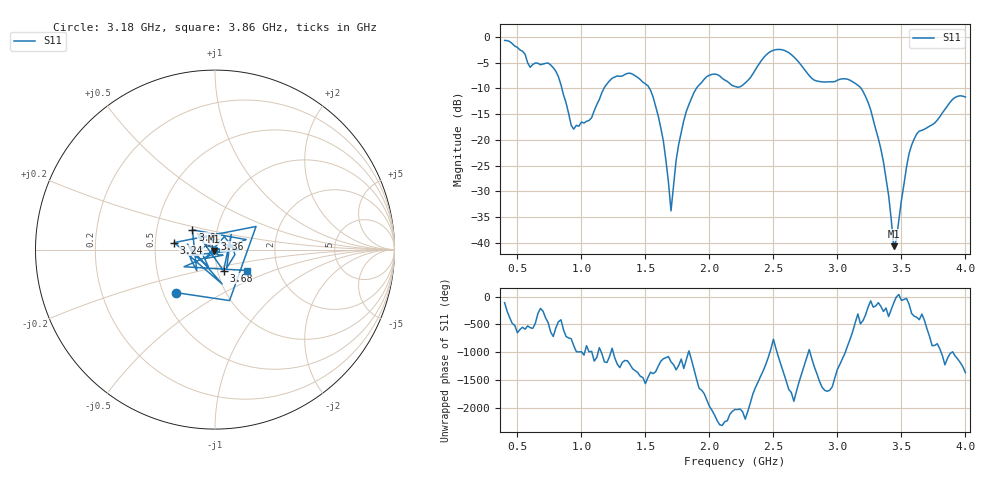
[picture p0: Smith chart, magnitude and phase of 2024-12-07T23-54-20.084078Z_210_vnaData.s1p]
!Created with skrf (http://scikit-rf.org).
# Hz S RI R 50.0
!freq ReS11 ImS11
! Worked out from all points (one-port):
!   181 points, 400 MHz to 4 GHz, reference 50 ohm
!   lowest |S11| = -40.6 dB at 3.44 GHz (marker M1), VSWR 1.02, Z = 49.6 - j0.819 ohm
!   |S11| at or under -10 dB: 847.2 MHz to 1.177 GHz (329.3 MHz wide, 32.5 % of centre); 1.531 GHz to 1.899 GHz (367.3 MHz wide, 21.4 % of centre); 3.185 GHz to end of sweep
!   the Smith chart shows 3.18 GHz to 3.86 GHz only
!   S11 on the Smith chart (normalised r, x): 3.18 GHz: 0.58, -0.31; 3.24 GHz: 0.63, +0.05; 3.36 GHz: 0.99, +0.12; 3.68 GHz: 1.07, -0.26; 3.8 GHz: 0.76, +0.17; 3.86 GHz: 1.39, -0.34
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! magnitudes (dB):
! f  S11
! 400 MHz  -0.7
! 600 MHz  -5.9
! 760 MHz  -5.5
! 860 MHz  -11.3
! 940 MHz  -17.9
! 1.3 GHz  -7.7
! 1.4 GHz  -7.3
! 1.56 GHz  -11.7
! 1.64 GHz  -20.2
! 1.7 GHz  -33.8
! 1.76 GHz  -20.9
! 1.84 GHz  -13.2
! 1.96 GHz  -8.2
! 2.2 GHz  -9.6
! 2.48 GHz  -2.8
! 2.66 GHz  -3.9
! 2.82 GHz  -8.4
! 3.1 GHz  -8.5
! 3.18 GHz  -9.8
! 3.24 GHz  -12.7
! 3.36 GHz  -24.3
! 3.44 GHz  -40.6
! 3.46 GHz  -39.5
! 3.56 GHz  -22.7
! 3.68 GHz  -17.9
! 3.8 GHz  -15.5
! 3.86 GHz  -13.4
! 4 GHz  -11.7
